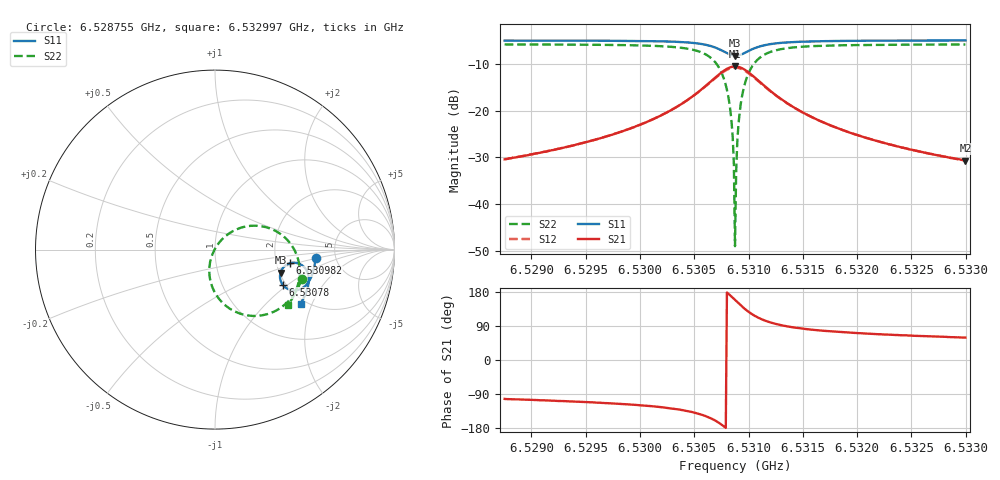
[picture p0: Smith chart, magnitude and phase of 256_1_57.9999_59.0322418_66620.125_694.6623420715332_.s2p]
#  HZ  S  RI  R  50.00
! Rohde & Schwarz Vector Network Analyzer
! Rohde-Schwarz,ZNB20-2Port,1311601062101988,3.16
! Created: UTC 3/21/2024, 1:01:46 AM
! freq[Hz]  re:S11  im:S11  re:S21  im:S21  re:S12  im:S12  re:S22  im:S22
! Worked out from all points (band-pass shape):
!   401 points, 6.528755 GHz to 6.532997 GHz, reference 50 ohm
!   highest |S21| = -10.53 dB at 6.530876 GHz (marker M1); lowest = -30.7 dB at 6.532997 GHz (marker M2)
!   |S21| within 3 dB of the highest: 6.530664 GHz to 6.531089 GHz (424.8 kHz wide, 0.00651 % of centre)
!   lowest |S11| = -8.2 dB at 6.530876 GHz (marker M3), VSWR 2.26, Z = 101 - j30.6 ohm
!   |S11| at or under -10 dB: nowhere
!   |S22| runs from -49.0 to -5.8 dB; largest |S21 - S12| = 0.012
!   S11 on the Smith chart (normalised r, x): 6.528755 GHz: 3.50, -0.48; 6.53078 GHz: 1.92, -0.92; 6.530982 GHz: 2.38, -0.44; 6.532997 GHz: 1.88, -1.65
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6.5287546e9  0.5602 -0.0469  -0.00664 -0.0295  -0.00731 -0.0295  0.4836 -0.1658
6.5294652e9  0.5509 -0.1059  -0.0159 -0.0421  -0.0167 -0.0416  0.4531 -0.2299
6.5301757e9  0.5242 -0.1759  -0.0484 -0.0721  -0.0505 -0.0708  0.3731 -0.3192
6.5305999e9  0.4556 -0.2262  -0.153 -0.0976  -0.1554 -0.0914  0.1721 -0.3652
6.530706e9  0.4117 -0.222  -0.2208 -0.0723  -0.2201 -0.0629  0.0582 -0.3111
6.5307802e9  0.3775 -0.196  -0.2704 -0.0153  -0.2652 -0.00568  -0.0158 -0.2069
6.530812e9  0.367 -0.1765  -0.2839 0.0221  -0.2761 0.0306  -0.0307 -0.1425
6.5308332e9  0.363 -0.1613  -0.2872 0.0504  -0.2781 0.0576  -0.0308 -0.0954
6.5308438e9  0.3623 -0.1532  -0.2868 0.0651  -0.2771 0.0715  -0.0276 -0.0713
6.5308544e9  0.3623 -0.145  -0.2849 0.0799  -0.2749 0.0855  -0.0219 -0.0474
6.530865e9  0.3633 -0.1367  -0.2816 0.0947  -0.2713 0.0992  -0.0136 -0.0241
6.5308756e9  0.365 -0.1286  -0.2768 0.1091  -0.2662 0.1127  -0.00324 -0.00148
6.5308862e9  0.3678 -0.1207  -0.2706 0.1229  -0.26 0.1256  0.00944 0.0201
6.5308968e9  0.3714 -0.1132  -0.2631 0.1361  -0.2527 0.1379  0.024 0.0402
6.5309075e9  0.3757 -0.1061  -0.2543 0.1483  -0.2441 0.1492  0.0404 0.0585
6.5309287e9  0.3861 -0.094  -0.2342 0.1694  -0.2247 0.1687  0.0774 0.0892
6.5309817e9  0.4181 -0.0758  -0.1756 0.2007  -0.169 0.1979  0.1791 0.1301
6.5310559e9  0.4598 -0.0756  -0.1026 0.2029  -0.099 0.2001  0.3015 0.1194
6.531162e9  0.4963 -0.0973  -0.0396 0.173  -0.0379 0.1715  0.4029 0.0538
6.5315862e9  0.5224 -0.1762  0.015 0.0838  0.0159 0.0834  0.4717 -0.1337
6.5322967e9  0.5039 -0.248  0.0172 0.0402  0.0179 0.0398  0.4427 -0.2482
6.5329967e9  0.4774 -0.3004  0.015 0.0252  0.0155 0.0249  0.4072 -0.3081
